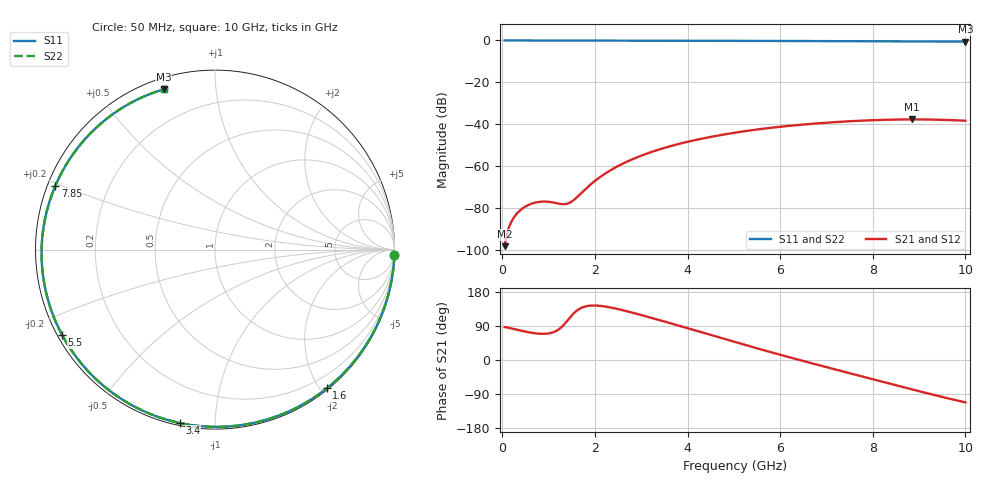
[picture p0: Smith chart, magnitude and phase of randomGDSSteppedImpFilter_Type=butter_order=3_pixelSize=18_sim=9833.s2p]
! freq	dB(S11)	phase(S11)	dB(S12)	phase(S12)
!  dB(S21)	phase(S21)	dB(S22)	phase(S22)
!S-par simulation data
#  GHz  S  DB  R 50
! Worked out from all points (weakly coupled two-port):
!   200 points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, 50 MHz to 10 GHz, reference 50 ohm
!   highest |S21| = -37.62 dB at 8.85 GHz (marker M1); lowest = -98.0 dB at 50 MHz (marker M2)
!   lowest |S11| = -0.6 dB at 10 GHz (marker M3), VSWR 31.02, Z = 2.47 + j36.5 ohm
!   |S11| at or under -10 dB: nowhere
!   |S22| runs from -0.6 to 0.0 dB; largest |S21 - S12| = 0
!   S11 on the Smith chart (normalised r, x): 50 MHz: 0, -69; 1.6 GHz: 0.02, -2.09; 3.4 GHz: 0.01, -0.82; 5.5 GHz: 0.01, -0.26; 7.85 GHz: 0.02, +0.19; 10 GHz: 0.05, +0.73
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0.05  -0.00 -1.7  -98.01 86.9  -98.01 86.9  -0.00 -1.7
0.45  -0.02 -14.8  -79.82 76.1  -79.82 76.1  -0.02 -14.8
0.65  -0.03 -21.3  -77.63 71.5  -77.63 71.5  -0.03 -21.2
0.85  -0.04 -27.7  -76.80 69.1  -76.80 69.1  -0.04 -27.7
1.35  -0.05 -43.5  -77.99 95.8  -77.99 95.8  -0.05 -43.5
1.45  -0.06 -46.6  -77.36 110.4  -77.36 110.4  -0.06 -46.5
1.6  -0.06 -51.1  -74.94 129.4  -74.94 129.4  -0.06 -51.1
1.75  -0.07 -55.7  -71.76 139.7  -71.76 139.7  -0.07 -55.7
2.1  -0.08 -66.0  -65.26 143.0  -65.26 143.0  -0.08 -66.0
2.45  -0.09 -76.0  -60.43 135.7  -60.43 135.7  -0.09 -76.0
2.9  -0.11 -88.4  -55.77 122.0  -55.77 122.0  -0.11 -88.4
3.4  -0.12 -101.5  -51.86 105.0  -51.86 105.0  -0.12 -101.5
4.15  -0.15 -120.1  -47.53 78.7  -47.53 78.7  -0.15 -120.1
5.05  -0.19 -140.9  -43.85 46.5  -43.85 46.5  -0.19 -140.9
5.5  -0.22 -150.9  -42.42 30.8  -42.42 30.8  -0.22 -150.9
6.1  -0.25 -164.0  -40.88 10.5  -40.88 10.5  -0.25 -164.0
6.7  -0.29 -176.9  -39.68 -9.2  -39.68 -9.2  -0.29 -176.8
7.25  -0.33 171.3  -38.82 -26.9  -38.82 -26.9  -0.33 171.3
7.85  -0.37 158.3  -38.12 -46.0  -38.12 -46.0  -0.37 158.3
8.35  -0.41 147.2  -37.75 -61.9  -37.75 -61.9  -0.41 147.2
8.85  -0.45 135.7  -37.62 -77.7  -37.62 -77.7  -0.46 135.7
10  -0.56 107.7  -38.24 -111.8  -38.24 -111.8  -0.56 107.7
